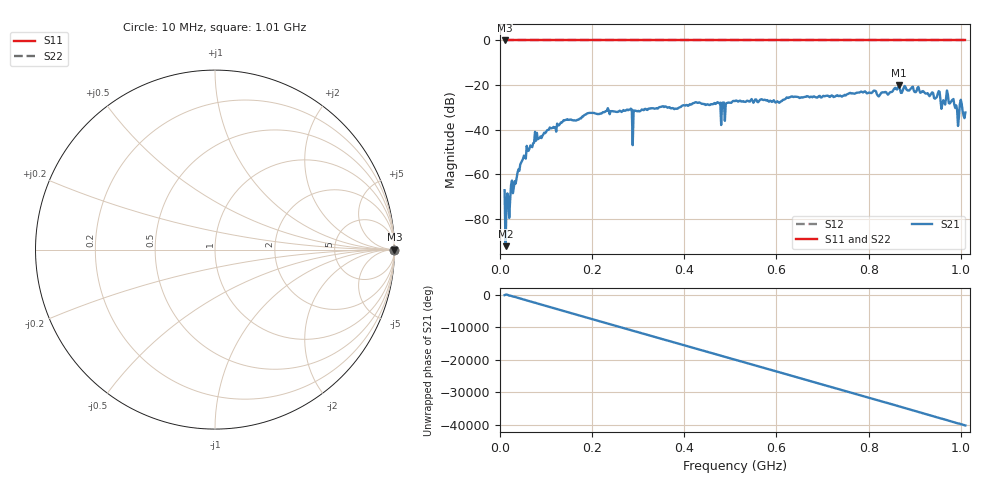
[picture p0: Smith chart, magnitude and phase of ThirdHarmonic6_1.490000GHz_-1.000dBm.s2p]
! 8/16/2025 5:27:35 PM
! C:\ANRITSUVNA\TEMP\TEMP.S2P
! CHANNEL.1
! TR.MEASUREMENT
! RAW.DATA
! RF.CORRECTION.OFF
! AVERAGING.OFF
! IF.BANDWIDTH: 5KHZ
! SWEEPTYPE:  FREQ.SWEEP(Linear)
! Reference Plane Port Info
! PORT:  PORT1  PORT2
! DISTANCE:  0  m  0  m
! TIME:  0  s  0  s
! PHASE.OFFSET:  0  deg.  0  deg.
! LOSS:  0  dB  0  dB
! REF.LOSS:  0  dB  0  dB
! REF.FREQ:  0  Hz  0  Hz
! Power Info
! POWER:  -20  dBm  -20  dBm
! EFF.POWER:  -20  dBm  -20  dBm
! SOURCE.ATTEN:  0  dB  0  dB
! TEST.ATTEN:  0  dB  0  dB
# GHZ S RI R 50.0
! FREQ.GHZ  S11RE  S11IM  S21RE  S21IM  S12RE  S12IM  S22RE  S22IM
!; PortSelection: Port_12
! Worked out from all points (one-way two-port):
!   501 points, 10 MHz to 1.01 GHz, reference 50 ohm
!   highest |S21| = -20.02 dB at 866 MHz (marker M1); lowest = -92.2 dB at 12 MHz (marker M2)
!   lowest |S11| = 0.0 dB at 10 MHz (marker M3)
!   |S11| at or under -10 dB: nowhere
!   |S22| runs from 0.0 to 0.0 dB; largest |S21 - S12| = 1.1
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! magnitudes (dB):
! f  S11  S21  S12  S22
! 10 MHz  0.0  -67.1  0.0  0.0
! 12 MHz  0.0  -92.2  0.0  0.0
! 16 MHz  0.0  -68.5  0.0  0.0
! 48 MHz  0.0  -53.8  0.0  0.0
! 76 MHz  0.0  -41.0  0.0  0.0
! 178 MHz  0.0  -34.1  0.0  0.0
! 282 MHz  0.0  -30.9  0.0  0.0
! 292 MHz  0.0  -31.6  0.0  0.0
! 294 MHz  0.0  -31.4  0.0  0.0
! 344 MHz  0.0  -30.2  0.0  0.0
! 474 MHz  0.0  -28.0  0.0  0.0
! 484 MHz  0.0  -27.8  0.0  0.0
! 510 MHz  0.0  -27.2  0.0  0.0
! 678 MHz  0.0  -25.5  0.0  0.0
! 844 MHz  0.0  -23.9  0.0  0.0
! 866 MHz  0.0  -20.0  0.0  0.0
! 950 MHz  0.0  -23.9  0.0  0.0
! 962 MHz  0.0  -26.8  0.0  0.0
! 972 MHz  0.0  -24.3  0.0  0.0
! 992 MHz  0.0  -31.2  0.0  0.0
! 1.002 GHz  0.0  -28.5  0.0  0.0
! 1.01 GHz  0.0  -32.3  0.0  0.0
